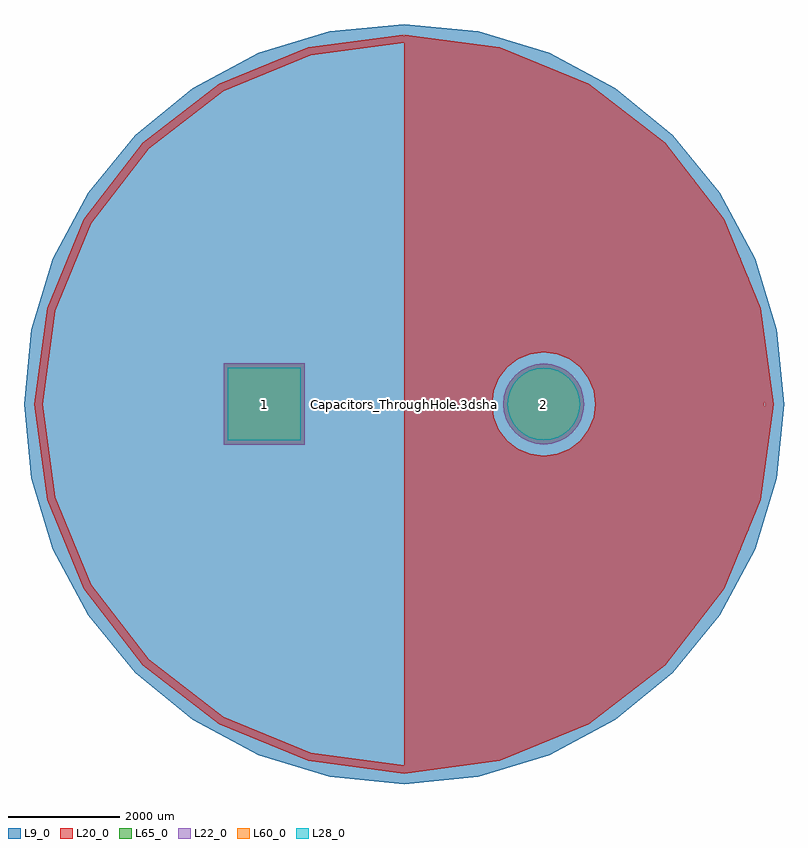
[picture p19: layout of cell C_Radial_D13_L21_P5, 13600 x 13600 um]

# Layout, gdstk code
import gdstk
lib = gdstk.Library(unit=1e-6, precision=1e-09)
def R(c, l, rs):  # rectangles x0, y0, x1, y1
    for r in rs: c.add(gdstk.rectangle(r[:2], r[2:], *l))
def P(c, l, *ps):  # polygons
    for p in ps: c.add(gdstk.Polygon(p, *l))
L9_0 = (9, 0)
L20_0 = (20, 0)
L22_0 = (22, 0)
L28_0 = (28, 0)
L60_0 = (60, 0)
L65_0 = (65, 0)

c_radial_d13_l21_p5 = lib.new_cell('C_Radial_D13_L21_P5')
P(c_radial_d13_l21_p5, L9_0, [(9300,0),(9169.34,1326.614),(8782.381,2602.247),(8153.993,3777.878),(7308.326,4808.326),(6277.878,5653.993),(5102.247,6282.381),(3826.614,6669.34),(2500,6800),(1173.386,6669.34),(-102.247,6282.381),(-1277.878,5653.993),(-2308.326,4808.326),(-3153.993,3777.878),(-3782.381,2602.247),(-4169.34,1326.614),(-4300,0),(-4169.34,-1326.614),(-3782.381,-2602.247),(-3153.993,-3777.878),(-2308.326,-4808.326),(-1277.878,-5653.993),(-102.247,-6282.381),(1173.386,-6669.34),(2500,-6800),(3826.614,-6669.34),(5102.247,-6282.381),(6277.878,-5653.993),(7308.326,-4808.326),(8153.993,-3777.878),(8782.381,-2602.247),(9169.34,-1326.614)])
R(c_radial_d13_l21_p5, L22_0, [(-725,-725,725,725)])
P(c_radial_d13_l21_p5, L22_0, [(5725,0),(5711.069,141.44),(5669.813,277.445),(5602.815,402.788),(5512.652,512.652),(5402.788,602.815),(5277.445,669.813),(5141.44,711.069),(5000,725),(4858.56,711.069),(4722.555,669.813),(4597.212,602.815),(4487.348,512.652),(4397.185,402.788),(4330.187,277.445),(4288.931,141.44),(4275,0),(4288.931,-141.44),(4330.187,-277.445),(4397.185,-402.788),(4487.348,-512.652),(4597.212,-602.815),(4722.555,-669.813),(4858.56,-711.069),(5000,-725),(5141.44,-711.069),(5277.445,-669.813),(5402.788,-602.815),(5512.652,-512.652),(5602.815,-402.788),(5669.813,-277.445),(5711.069,-141.44)])
R(c_radial_d13_l21_p5, L28_0, [(-650,-650,650,650)])
P(c_radial_d13_l21_p5, L28_0, [(5650,0),(5637.51,126.809),(5600.522,248.744),(5540.455,361.121),(5459.619,459.619),(5361.121,540.455),(5248.744,600.522),(5126.809,637.51),(5000,650),(4873.191,637.51),(4751.256,600.522),(4638.879,540.455),(4540.381,459.619),(4459.545,361.121),(4399.478,248.744),(4362.49,126.809),(4350,0),(4362.49,-126.809),(4399.478,-248.744),(4459.545,-361.121),(4540.381,-459.619),(4638.879,-540.455),(4751.256,-600.522),(4873.191,-637.51),(5000,-650),(5126.809,-637.51),(5248.744,-600.522),(5361.121,-540.455),(5459.619,-459.619),(5540.455,-361.121),(5600.522,-248.744),(5637.51,-126.809)])
R(c_radial_d13_l21_p5, L60_0, [(-650,-650,650,650)])
P(c_radial_d13_l21_p5, L60_0, [(5650,0),(5637.51,126.809),(5600.522,248.744),(5540.455,361.121),(5459.619,459.619),(5361.121,540.455),(5248.744,600.522),(5126.809,637.51),(5000,650),(4873.191,637.51),(4751.256,600.522),(4638.879,540.455),(4540.381,459.619),(4459.545,361.121),(4399.478,248.744),(4362.49,126.809),(4350,0),(4362.49,-126.809),(4399.478,-248.744),(4459.545,-361.121),(4540.381,-459.619),(4638.879,-540.455),(4751.256,-600.522),(4873.191,-637.51),(5000,-650),(5126.809,-637.51),(5248.744,-600.522),(5361.121,-540.455),(5459.619,-459.619),(5540.455,-361.121),(5600.522,-248.744),(5637.51,-126.809)])
R(c_radial_d13_l21_p5, L65_0, [(-725,-725,725,725)])
P(c_radial_d13_l21_p5, L65_0, [(5725,0),(5711.069,141.44),(5669.813,277.445),(5602.815,402.788),(5512.652,512.652),(5402.788,602.815),(5277.445,669.813),(5141.44,711.069),(5000,725),(4858.56,711.069),(4722.555,669.813),(4597.212,602.815),(4487.348,512.652),(4397.185,402.788),(4330.187,277.445),(4288.931,141.44),(4275,0),(4288.931,-141.44),(4330.187,-277.445),(4397.185,-402.788),(4487.348,-512.652),(4597.212,-602.815),(4722.555,-669.813),(4858.56,-711.069),(5000,-725),(5141.44,-711.069),(5277.445,-669.813),(5402.788,-602.815),(5512.652,-512.652),(5602.815,-402.788),(5669.813,-277.445),(5711.069,-141.44)])
c_radial_d13_l21_p5.add(gdstk.FlexPath([(2500,6537.5),(807.97,6314.74),(-768.75,5661.641),(-2122.711,4622.711),(-3161.641,3268.75),(-3814.74,1692.03),(-4037.5,0),(-3814.74,-1692.03),(-3161.641,-3268.75),(-2122.711,-4622.711),(-768.75,-5661.641),(807.97,-6314.74),(2500,-6537.5),(4192.03,-6314.74),(5768.75,-5661.641),(7122.711,-4622.711),(8161.641,-3268.75),(8814.74,-1692.03),(9037.5,0),(8814.74,1692.03),(8161.641,3268.75),(7122.711,4622.711),(5768.75,5661.641),(4192.03,6314.74),(2500,6537.5)], 149.998, ends="flush", simple_path=True, layer=20, datatype=0))  # L20_0
c_radial_d13_l21_p5.add(gdstk.FlexPath([(5000,1000),(4741.181,965.926),(4500,866.025),(4292.893,707.107),(4133.975,500),(4034.074,258.819),(4000,0),(4034.074,-258.819),(4133.975,-500),(4292.893,-707.107),(4500,-866.025),(4741.181,-965.926),(5000,-1000),(5258.819,-965.926),(5500,-866.025),(5707.107,-707.107),(5866.025,-500),(5965.926,-258.819),(6000,0),(5965.926,258.819),(5866.025,500),(5707.107,707.107),(5500,866.025),(5258.819,965.926),(5000,1000)], 149.998, ends="flush", simple_path=True, layer=20, datatype=0))  # L20_0
c_radial_d13_l21_p5.add(gdstk.FlexPath([(8875,1269),(8875,-1269)], 149.998, ends="flush", simple_path=True, layer=20, datatype=0))  # L20_0
c_radial_d13_l21_p5.add(gdstk.FlexPath([(8735,1837),(8735,-1837)], 149.998, ends="flush", simple_path=True, layer=20, datatype=0))  # L20_0
c_radial_d13_l21_p5.add(gdstk.FlexPath([(8595,2259),(8595,-2259)], 149.998, ends="flush", simple_path=True, layer=20, datatype=0))  # L20_0
c_radial_d13_l21_p5.add(gdstk.FlexPath([(8455,2605),(8455,-2605)], 149.998, ends="flush", simple_path=True, layer=20, datatype=0))  # L20_0
c_radial_d13_l21_p5.add(gdstk.FlexPath([(8315,2904),(8315,-2904)], 149.998, ends="flush", simple_path=True, layer=20, datatype=0))  # L20_0
c_radial_d13_l21_p5.add(gdstk.FlexPath([(8175,3169),(8175,-3169)], 149.998, ends="flush", simple_path=True, layer=20, datatype=0))  # L20_0
c_radial_d13_l21_p5.add(gdstk.FlexPath([(8035,3408),(8035,-3408)], 149.998, ends="flush", simple_path=True, layer=20, datatype=0))  # L20_0
c_radial_d13_l21_p5.add(gdstk.FlexPath([(7895,3625),(7895,-3625)], 149.998, ends="flush", simple_path=True, layer=20, datatype=0))  # L20_0
c_radial_d13_l21_p5.add(gdstk.FlexPath([(7755,3826),(7755,-3826)], 149.998, ends="flush", simple_path=True, layer=20, datatype=0))  # L20_0
c_radial_d13_l21_p5.add(gdstk.FlexPath([(7615,4011),(7615,-4011)], 149.998, ends="flush", simple_path=True, layer=20, datatype=0))  # L20_0
c_radial_d13_l21_p5.add(gdstk.FlexPath([(7475,4183),(7475,-4183)], 149.998, ends="flush", simple_path=True, layer=20, datatype=0))  # L20_0
c_radial_d13_l21_p5.add(gdstk.FlexPath([(7335,4344),(7335,-4344)], 149.998, ends="flush", simple_path=True, layer=20, datatype=0))  # L20_0
c_radial_d13_l21_p5.add(gdstk.FlexPath([(7195,4495),(7195,-4495)], 149.998, ends="flush", simple_path=True, layer=20, datatype=0))  # L20_0
c_radial_d13_l21_p5.add(gdstk.FlexPath([(7055,4637),(7055,-4637)], 149.998, ends="flush", simple_path=True, layer=20, datatype=0))  # L20_0
c_radial_d13_l21_p5.add(gdstk.FlexPath([(6915,4771),(6915,-4771)], 149.998, ends="flush", simple_path=True, layer=20, datatype=0))  # L20_0
c_radial_d13_l21_p5.add(gdstk.FlexPath([(6775,4896),(6775,-4896)], 149.998, ends="flush", simple_path=True, layer=20, datatype=0))  # L20_0
c_radial_d13_l21_p5.add(gdstk.FlexPath([(6635,5015),(6635,-5015)], 149.998, ends="flush", simple_path=True, layer=20, datatype=0))  # L20_0
c_radial_d13_l21_p5.add(gdstk.FlexPath([(6495,5127),(6495,-5127)], 149.998, ends="flush", simple_path=True, layer=20, datatype=0))  # L20_0
c_radial_d13_l21_p5.add(gdstk.FlexPath([(6355,5233),(6355,-5233)], 149.998, ends="flush", simple_path=True, layer=20, datatype=0))  # L20_0
c_radial_d13_l21_p5.add(gdstk.FlexPath([(6215,5334),(6215,-5334)], 149.998, ends="flush", simple_path=True, layer=20, datatype=0))  # L20_0
c_radial_d13_l21_p5.add(gdstk.FlexPath([(6075,5429),(6075,-5429)], 149.998, ends="flush", simple_path=True, layer=20, datatype=0))  # L20_0
c_radial_d13_l21_p5.add(gdstk.FlexPath([(5935,-355),(5935,-5518)], 149.998, ends="flush", simple_path=True, layer=20, datatype=0))  # L20_0
c_radial_d13_l21_p5.add(gdstk.FlexPath([(5935,5518),(5935,355)], 149.998, ends="flush", simple_path=True, layer=20, datatype=0))  # L20_0
c_radial_d13_l21_p5.add(gdstk.FlexPath([(5795,-607),(5795,-5603)], 149.998, ends="flush", simple_path=True, layer=20, datatype=0))  # L20_0
c_radial_d13_l21_p5.add(gdstk.FlexPath([(5795,5603),(5795,607)], 149.998, ends="flush", simple_path=True, layer=20, datatype=0))  # L20_0
c_radial_d13_l21_p5.add(gdstk.FlexPath([(5655,-756),(5655,-5683)], 149.998, ends="flush", simple_path=True, layer=20, datatype=0))  # L20_0
c_radial_d13_l21_p5.add(gdstk.FlexPath([(5655,5683),(5655,756)], 149.998, ends="flush", simple_path=True, layer=20, datatype=0))  # L20_0
c_radial_d13_l21_p5.add(gdstk.FlexPath([(5515,-857),(5515,-5758)], 149.998, ends="flush", simple_path=True, layer=20, datatype=0))  # L20_0
c_radial_d13_l21_p5.add(gdstk.FlexPath([(5515,5758),(5515,857)], 149.998, ends="flush", simple_path=True, layer=20, datatype=0))  # L20_0
c_radial_d13_l21_p5.add(gdstk.FlexPath([(5375,-927),(5375,-5830)], 149.998, ends="flush", simple_path=True, layer=20, datatype=0))  # L20_0
c_radial_d13_l21_p5.add(gdstk.FlexPath([(5375,5830),(5375,927)], 149.998, ends="flush", simple_path=True, layer=20, datatype=0))  # L20_0
c_radial_d13_l21_p5.add(gdstk.FlexPath([(5235,-972),(5235,-5897)], 149.998, ends="flush", simple_path=True, layer=20, datatype=0))  # L20_0
c_radial_d13_l21_p5.add(gdstk.FlexPath([(5235,5897),(5235,972)], 149.998, ends="flush", simple_path=True, layer=20, datatype=0))  # L20_0
c_radial_d13_l21_p5.add(gdstk.FlexPath([(5095,-995),(5095,-5960)], 149.998, ends="flush", simple_path=True, layer=20, datatype=0))  # L20_0
c_radial_d13_l21_p5.add(gdstk.FlexPath([(5095,5960),(5095,995)], 149.998, ends="flush", simple_path=True, layer=20, datatype=0))  # L20_0
c_radial_d13_l21_p5.add(gdstk.FlexPath([(4955,-999),(4955,-6019)], 149.998, ends="flush", simple_path=True, layer=20, datatype=0))  # L20_0
c_radial_d13_l21_p5.add(gdstk.FlexPath([(4955,6019),(4955,999)], 149.998, ends="flush", simple_path=True, layer=20, datatype=0))  # L20_0
c_radial_d13_l21_p5.add(gdstk.FlexPath([(4815,-983),(4815,-6074)], 149.998, ends="flush", simple_path=True, layer=20, datatype=0))  # L20_0
c_radial_d13_l21_p5.add(gdstk.FlexPath([(4815,6074),(4815,983)], 149.998, ends="flush", simple_path=True, layer=20, datatype=0))  # L20_0
c_radial_d13_l21_p5.add(gdstk.FlexPath([(4675,-946),(4675,-6125)], 149.998, ends="flush", simple_path=True, layer=20, datatype=0))  # L20_0
c_radial_d13_l21_p5.add(gdstk.FlexPath([(4675,6125),(4675,946)], 149.998, ends="flush", simple_path=True, layer=20, datatype=0))  # L20_0
c_radial_d13_l21_p5.add(gdstk.FlexPath([(4535,-885),(4535,-6173)], 149.998, ends="flush", simple_path=True, layer=20, datatype=0))  # L20_0
c_radial_d13_l21_p5.add(gdstk.FlexPath([(4535,6173),(4535,885)], 149.998, ends="flush", simple_path=True, layer=20, datatype=0))  # L20_0
c_radial_d13_l21_p5.add(gdstk.FlexPath([(4395,-796),(4395,-6218)], 149.998, ends="flush", simple_path=True, layer=20, datatype=0))  # L20_0
c_radial_d13_l21_p5.add(gdstk.FlexPath([(4395,6218),(4395,796)], 149.998, ends="flush", simple_path=True, layer=20, datatype=0))  # L20_0
c_radial_d13_l21_p5.add(gdstk.FlexPath([(4255,-667),(4255,-6259)], 149.998, ends="flush", simple_path=True, layer=20, datatype=0))  # L20_0
c_radial_d13_l21_p5.add(gdstk.FlexPath([(4255,6259),(4255,667)], 149.998, ends="flush", simple_path=True, layer=20, datatype=0))  # L20_0
c_radial_d13_l21_p5.add(gdstk.FlexPath([(4115,-466),(4115,-6296)], 149.998, ends="flush", simple_path=True, layer=20, datatype=0))  # L20_0
c_radial_d13_l21_p5.add(gdstk.FlexPath([(4115,6296),(4115,466)], 149.998, ends="flush", simple_path=True, layer=20, datatype=0))  # L20_0
c_radial_d13_l21_p5.add(gdstk.FlexPath([(3975,6330),(3975,-6330)], 149.998, ends="flush", simple_path=True, layer=20, datatype=0))  # L20_0
c_radial_d13_l21_p5.add(gdstk.FlexPath([(3835,6361),(3835,-6361)], 149.998, ends="flush", simple_path=True, layer=20, datatype=0))  # L20_0
c_radial_d13_l21_p5.add(gdstk.FlexPath([(3695,6389),(3695,-6389)], 149.998, ends="flush", simple_path=True, layer=20, datatype=0))  # L20_0
c_radial_d13_l21_p5.add(gdstk.FlexPath([(3555,6414),(3555,-6414)], 149.998, ends="flush", simple_path=True, layer=20, datatype=0))  # L20_0
c_radial_d13_l21_p5.add(gdstk.FlexPath([(3415,6435),(3415,-6435)], 149.998, ends="flush", simple_path=True, layer=20, datatype=0))  # L20_0
c_radial_d13_l21_p5.add(gdstk.FlexPath([(3275,6454),(3275,-6454)], 149.998, ends="flush", simple_path=True, layer=20, datatype=0))  # L20_0
c_radial_d13_l21_p5.add(gdstk.FlexPath([(3135,6469),(3135,-6469)], 149.998, ends="flush", simple_path=True, layer=20, datatype=0))  # L20_0
c_radial_d13_l21_p5.add(gdstk.FlexPath([(2995,6481),(2995,-6481)], 149.998, ends="flush", simple_path=True, layer=20, datatype=0))  # L20_0
c_radial_d13_l21_p5.add(gdstk.FlexPath([(2855,6490),(2855,-6490)], 149.998, ends="flush", simple_path=True, layer=20, datatype=0))  # L20_0
c_radial_d13_l21_p5.add(gdstk.FlexPath([(2715,6496),(2715,-6496)], 149.998, ends="flush", simple_path=True, layer=20, datatype=0))  # L20_0
c_radial_d13_l21_p5.add(gdstk.FlexPath([(2575,6500),(2575,-6500)], 149.998, ends="flush", simple_path=True, layer=20, datatype=0))  # L20_0
c_radial_d13_l21_p5.add(gdstk.Label('Capacitors_ThroughHole.3dshapes/C_Radial_D13_L21_P5.wrl', (2500,0), layer=12, texttype=0))
c_radial_d13_l21_p5.add(gdstk.Label('2', (5000,0), layer=28, texttype=0))
c_radial_d13_l21_p5.add(gdstk.Label('1', (0,0), layer=28, texttype=0))
c_radial_d13_l21_p5.add(gdstk.Label('type', (2500,-7800), layer=9, texttype=0))
c_radial_d13_l21_p5.add(gdstk.Label('devicename', (2500,7800), layer=9, texttype=0))

lib.write_gds('C_Radial_D13_L21_P5.gds')
